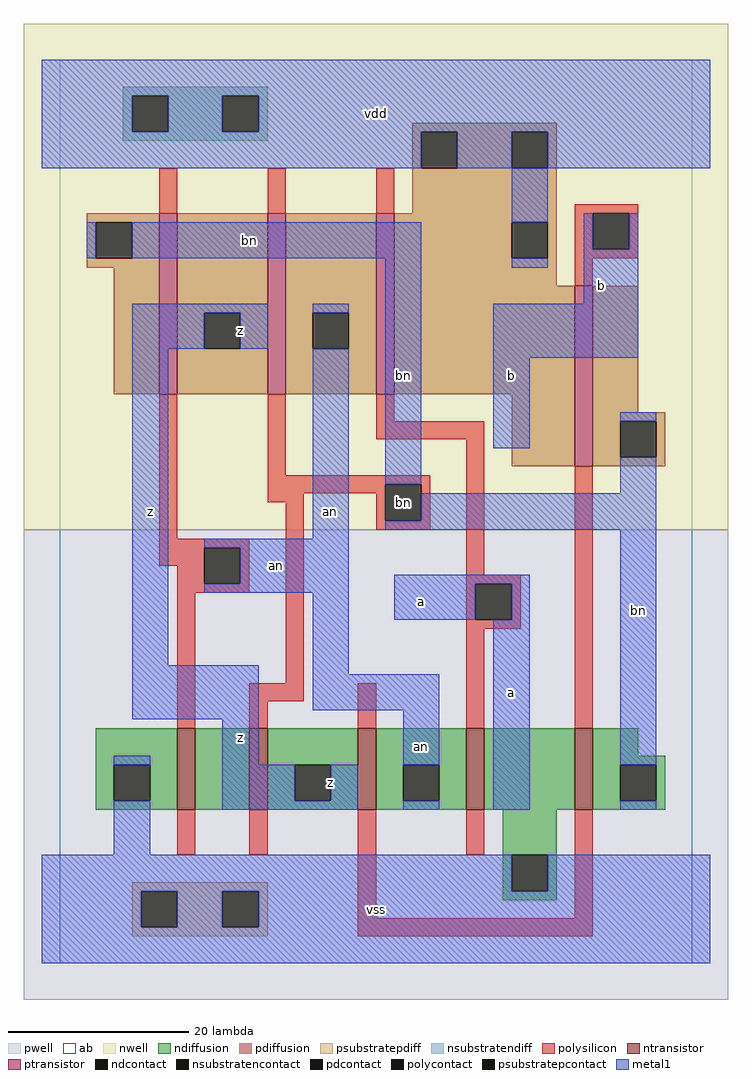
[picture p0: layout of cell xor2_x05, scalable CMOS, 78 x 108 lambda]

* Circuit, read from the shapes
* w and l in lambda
.subckt xor2_x05 a an b bn vdd vss z
M1 n1 an vss vss nfet w=9 l=2
M2 z bn n1 vss nfet w=9 l=2
M3 an b z vss nfet w=9 l=2
M4 vss a an vss nfet w=9 l=2
M5 bn b vss vss nfet w=9 l=2
M6 z an bn vdd pfet w=20 l=2
M7 an bn z vdd pfet w=20 l=2
M8 vdd a an vdd pfet w=20 l=2
M9 bn b vdd vdd pfet w=20 l=2
.ends

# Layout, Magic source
magic
tech scmos
<< ab >>
rect 0 0 70 100
<< pwell >>
rect -4 -4 74 48
<< nwell >>
rect -4 48 74 104
<< polysilicon >>
rect 11 83 13 88
rect 23 83 25 88
rect 35 83 37 88
rect 57 83 64 84
rect 57 79 59 83
rect 63 79 64 83
rect 57 78 64 79
rect 57 75 59 78
rect 11 47 13 63
rect 23 54 25 63
rect 35 60 37 63
rect 35 58 47 60
rect 23 53 41 54
rect 23 52 36 53
rect 23 51 27 52
rect 11 46 21 47
rect 11 44 16 46
rect 13 42 16 44
rect 20 42 21 46
rect 13 41 21 42
rect 13 26 15 41
rect 25 31 27 51
rect 35 49 36 52
rect 40 49 41 53
rect 35 48 41 49
rect 45 43 47 58
rect 45 42 51 43
rect 45 38 46 42
rect 50 38 51 42
rect 45 37 51 38
rect 21 29 27 31
rect 21 26 23 29
rect 33 26 35 31
rect 45 26 47 37
rect 57 26 59 55
rect 13 12 15 17
rect 21 12 23 17
rect 33 5 35 17
rect 45 12 47 17
rect 57 5 59 17
rect 33 3 59 5
<< ndiffusion >>
rect 4 22 13 26
rect 4 18 6 22
rect 10 18 13 22
rect 4 17 13 18
rect 15 17 21 26
rect 23 22 33 26
rect 23 18 26 22
rect 30 18 33 22
rect 23 17 33 18
rect 35 22 45 26
rect 35 18 38 22
rect 42 18 45 22
rect 35 17 45 18
rect 47 17 57 26
rect 59 23 64 26
rect 59 22 67 23
rect 59 18 62 22
rect 66 18 67 22
rect 59 17 67 18
rect 49 12 55 17
rect 49 8 50 12
rect 54 8 55 12
rect 49 7 55 8
<< pdiffusion >>
rect 39 92 55 93
rect 39 88 40 92
rect 44 88 50 92
rect 54 88 55 92
rect 39 83 55 88
rect 3 82 11 83
rect 3 78 4 82
rect 8 78 11 82
rect 3 77 11 78
rect 6 63 11 77
rect 13 72 23 83
rect 13 68 16 72
rect 20 68 23 72
rect 13 63 23 68
rect 25 72 35 83
rect 25 68 28 72
rect 32 68 35 72
rect 25 63 35 68
rect 37 82 55 83
rect 37 78 50 82
rect 54 78 55 82
rect 37 75 55 78
rect 37 63 57 75
rect 50 55 57 63
rect 59 61 64 75
rect 59 60 67 61
rect 59 56 62 60
rect 66 56 67 60
rect 59 55 67 56
<< metal1 >>
rect -2 96 72 100
rect -2 92 8 96
rect 12 92 18 96
rect 22 92 72 96
rect -2 88 40 92
rect 44 88 50 92
rect 54 88 72 92
rect 50 82 54 88
rect 3 78 4 82
rect 8 78 40 82
rect 8 72 23 73
rect 8 68 16 72
rect 20 68 23 72
rect 28 72 32 73
rect 8 33 12 68
rect 28 47 32 68
rect 36 53 40 78
rect 50 77 54 78
rect 58 79 59 83
rect 63 79 64 83
rect 58 73 64 79
rect 48 67 64 73
rect 48 57 52 67
rect 62 60 66 61
rect 62 52 66 56
rect 40 49 66 52
rect 36 48 66 49
rect 16 46 32 47
rect 20 42 32 46
rect 16 41 32 42
rect 8 27 22 33
rect 28 32 32 41
rect 37 42 52 43
rect 37 38 46 42
rect 50 38 52 42
rect 28 28 42 32
rect 6 22 10 23
rect 6 12 10 18
rect 18 22 22 27
rect 38 22 42 28
rect 18 18 26 22
rect 30 18 33 22
rect 18 17 33 18
rect 38 17 42 18
rect 48 17 52 38
rect 62 22 66 48
rect 62 17 66 18
rect -2 8 50 12
rect 54 8 72 12
rect -2 4 9 8
rect 13 4 18 8
rect 22 4 72 8
rect -2 0 72 4
<< ntransistor >>
rect 13 17 15 26
rect 21 17 23 26
rect 33 17 35 26
rect 45 17 47 26
rect 57 17 59 26
<< ptransistor >>
rect 11 63 13 83
rect 23 63 25 83
rect 35 63 37 83
rect 57 55 59 75
<< polycontact >>
rect 59 79 63 83
rect 16 42 20 46
rect 36 49 40 53
rect 46 38 50 42
<< ndcontact >>
rect 6 18 10 22
rect 26 18 30 22
rect 38 18 42 22
rect 62 18 66 22
rect 50 8 54 12
<< pdcontact >>
rect 40 88 44 92
rect 50 88 54 92
rect 4 78 8 82
rect 16 68 20 72
rect 28 68 32 72
rect 50 78 54 82
rect 62 56 66 60
<< psubstratepcontact >>
rect 9 4 13 8
rect 18 4 22 8
<< nsubstratencontact >>
rect 8 92 12 96
rect 18 92 22 96
<< psubstratepdiff >>
rect 8 8 23 9
rect 8 4 9 8
rect 13 4 18 8
rect 22 4 23 8
rect 8 3 23 4
<< nsubstratendiff >>
rect 7 96 23 97
rect 7 92 8 96
rect 12 92 18 96
rect 22 92 23 96
rect 7 91 23 92
<< labels >>
rlabel polycontact 38 51 38 51 6 bn
rlabel metal1 10 50 10 50 6 z
rlabel metal1 30 20 30 20 6 z
rlabel metal1 20 25 20 25 6 z
rlabel metal1 24 44 24 44 6 an
rlabel metal1 30 50 30 50 6 an
rlabel metal1 20 70 20 70 6 z
rlabel metal1 35 6 35 6 6 vss
rlabel metal1 40 24 40 24 6 an
rlabel metal1 50 30 50 30 6 a
rlabel metal1 40 40 40 40 6 a
rlabel metal1 50 65 50 65 6 b
rlabel metal1 38 65 38 65 6 bn
rlabel metal1 35 94 35 94 6 vdd
rlabel metal1 21 80 21 80 6 bn
rlabel metal1 64 39 64 39 6 bn
rlabel metal1 60 75 60 75 6 b
<< end >>
